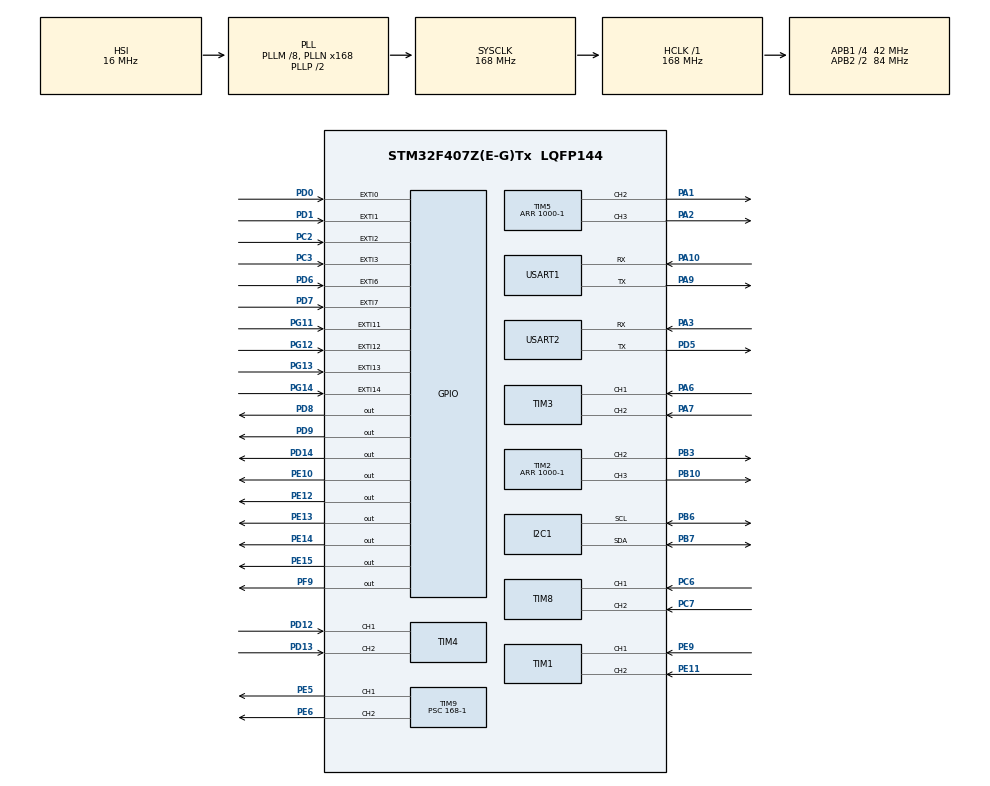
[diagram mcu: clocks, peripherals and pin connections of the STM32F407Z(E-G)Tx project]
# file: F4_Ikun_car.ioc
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Dma.Request0=USART1_RX
Dma.Request1=USART1_TX
Dma.USART1_RX.0.Direction=DMA_PERIPH_TO_MEMORY
Dma.USART1_RX.0.FIFOMode=DMA_FIFOMODE_DISABLE
Dma.USART1_RX.0.Instance=DMA2_Stream2
Dma.USART1_RX.0.MemDataAlignment=DMA_MDATAALIGN_BYTE
Dma.USART1_RX.0.MemInc=DMA_MINC_ENABLE
Dma.USART1_RX.0.Mode=DMA_NORMAL
Dma.USART1_RX.0.PeriphDataAlignment=DMA_PDATAALIGN_BYTE
Dma.USART1_RX.0.PeriphInc=DMA_PINC_DISABLE
Dma.USART1_RX.0.Priority=DMA_PRIORITY_LOW
Dma.USART1_TX.1.Direction=DMA_MEMORY_TO_PERIPH
Dma.USART1_TX.1.FIFOMode=DMA_FIFOMODE_DISABLE
Dma.USART1_TX.1.Instance=DMA2_Stream7
Dma.USART1_TX.1.MemDataAlignment=DMA_MDATAALIGN_BYTE
Dma.USART1_TX.1.MemInc=DMA_MINC_ENABLE
Dma.USART1_TX.1.Mode=DMA_NORMAL
Dma.USART1_TX.1.PeriphDataAlignment=DMA_PDATAALIGN_BYTE
Dma.USART1_TX.1.PeriphInc=DMA_PINC_DISABLE
Dma.USART1_TX.1.Priority=DMA_PRIORITY_LOW
FREERTOS.Tasks01=defaultTask,0,128,StartDefaultTask,Default,NULL,Dynamic,NULL,NULL
FREERTOS.configUSE_TIMERS=1
Mcu.Family=STM32F4
Mcu.Name=STM32F407Z(E-G)Tx
Mcu.Package=LQFP144
NVIC.DMA2_Stream2_IRQn=true\:5\:0\:false\:false\:true\:true\:false\:true\:true
NVIC.DMA2_Stream7_IRQn=true\:5\:0\:false\:false\:true\:true\:false\:true\:true
NVIC.EXTI0_IRQn=true\:5\:0\:false\:false\:true\:true\:true\:true\:true
NVIC.EXTI15_10_IRQn=true\:5\:0\:false\:false\:true\:true\:true\:true\:true
NVIC.EXTI1_IRQn=true\:5\:0\:false\:false\:true\:true\:true\:true\:true
NVIC.EXTI2_IRQn=true\:5\:0\:false\:false\:true\:true\:true\:true\:true
NVIC.EXTI3_IRQn=true\:5\:0\:false\:false\:true\:true\:true\:true\:true
NVIC.EXTI9_5_IRQn=true\:5\:0\:false\:false\:true\:true\:true\:true\:true
NVIC.PriorityGroup=NVIC_PRIORITYGROUP_4
NVIC.USART1_IRQn=true\:5\:0\:false\:false\:true\:true\:true\:true\:true
NVIC.USART2_IRQn=true\:5\:0\:false\:false\:true\:true\:true\:true\:true
PA1.Signal=S_TIM5_CH2
PA10.Mode=Asynchronous
PA10.Signal=USART1_RX
PA2.Signal=S_TIM5_CH3
PA3.Mode=Asynchronous
PA3.Signal=USART2_RX
PA6.Signal=S_TIM3_CH1
PA7.Signal=S_TIM3_CH2
PA9.Mode=Asynchronous
PA9.Signal=USART1_TX
PB10.Signal=S_TIM2_CH3
PB3.Signal=S_TIM2_CH2
PB6.Mode=I2C
PB6.Signal=I2C1_SCL
PB7.Mode=I2C
PB7.Signal=I2C1_SDA
PC2.Signal=GPXTI2
PC3.Signal=GPXTI3
PC6.Signal=S_TIM8_CH1
PC7.Signal=S_TIM8_CH2
PD0.GPIO_ModeDefaultEXTI=GPIO_MODE_IT_FALLING
PD0.Signal=GPXTI0
PD1.GPIO_ModeDefaultEXTI=GPIO_MODE_IT_FALLING
PD1.Signal=GPXTI1
PD12.Signal=S_TIM4_CH1
PD13.Signal=S_TIM4_CH2
PD14.Signal=GPIO_Output
PD5.Mode=Asynchronous
PD5.Signal=USART2_TX
PD6.GPIO_ModeDefaultEXTI=GPIO_MODE_IT_FALLING
PD6.Signal=GPXTI6
PD7.GPIO_ModeDefaultEXTI=GPIO_MODE_IT_FALLING
PD7.Signal=GPXTI7
PD8.Signal=GPIO_Output
PD9.Signal=GPIO_Output
PE10.Signal=GPIO_Output
PE11.Signal=S_TIM1_CH2
PE12.Signal=GPIO_Output
PE13.Signal=GPIO_Output
PE14.Signal=GPIO_Output
PE15.Signal=GPIO_Output
PE5.Signal=S_TIM9_CH1
PE6.Signal=S_TIM9_CH2
PE9.Signal=S_TIM1_CH1
PF9.Signal=GPIO_Output
PG11.GPIO_ModeDefaultEXTI=GPIO_MODE_IT_FALLING
PG11.Signal=GPXTI11
PG12.GPIO_ModeDefaultEXTI=GPIO_MODE_IT_FALLING
PG12.Signal=GPXTI12
PG13.GPIO_ModeDefaultEXTI=GPIO_MODE_IT_FALLING
PG13.Signal=GPXTI13
PG14.GPIO_ModeDefaultEXTI=GPIO_MODE_IT_FALLING
PG14.Signal=GPXTI14
ProjectManager.HeapSize=0x200
ProjectManager.StackSize=0x400
ProjectManager.TargetToolchain=STM32CubeIDE
RCC.48MHZClocksFreq_Value=84000000
RCC.AHBFreq_Value=168000000
RCC.APB1CLKDivider=RCC_HCLK_DIV4
RCC.APB1Freq_Value=42000000
RCC.APB1TimFreq_Value=84000000
RCC.APB2CLKDivider=RCC_HCLK_DIV2
RCC.APB2Freq_Value=84000000
RCC.APB2TimFreq_Value=168000000
RCC.CortexFreq_Value=168000000
RCC.HCLKFreq_Value=168000000
RCC.HSE_VALUE=25000000
RCC.HSI_VALUE=16000000
RCC.LSE_VALUE=32768
RCC.PLLM=8
RCC.PLLN=168
RCC.SYSCLKFreq_VALUE=168000000
RCC.SYSCLKSource=RCC_SYSCLKSOURCE_PLLCLK
RCC.VCOOutputFreq_Value=336000000
SH.S_TIM1_CH1.0=TIM1_CH1,Encoder_Interface
SH.S_TIM1_CH2.0=TIM1_CH2,Encoder_Interface
SH.S_TIM2_CH2.0=TIM2_CH2,PWM Generation2 CH2
SH.S_TIM2_CH3.0=TIM2_CH3,PWM Generation3 CH3
SH.S_TIM3_CH1.0=TIM3_CH1,Encoder_Interface
SH.S_TIM3_CH2.0=TIM3_CH2,Encoder_Interface
SH.S_TIM4_CH1.0=TIM4_CH1,Encoder_Interface
SH.S_TIM4_CH2.0=TIM4_CH2,Encoder_Interface
SH.S_TIM5_CH2.0=TIM5_CH2,PWM Generation2 CH2
SH.S_TIM5_CH3.0=TIM5_CH3,PWM Generation3 CH3
SH.S_TIM8_CH1.0=TIM8_CH1,Encoder_Interface
SH.S_TIM8_CH2.0=TIM8_CH2,Encoder_Interface
SH.S_TIM9_CH1.0=TIM9_CH1,PWM Generation1 CH1
SH.S_TIM9_CH2.0=TIM9_CH2,PWM Generation2 CH2
TIM1.EncoderMode=TIM_ENCODERMODE_TI12
TIM1.IC1Filter=4
TIM1.IC2Filter=4
TIM2.Channel-PWM\ Generation2\ CH2=TIM_CHANNEL_2
TIM2.Channel-PWM\ Generation3\ CH3=TIM_CHANNEL_3
TIM2.Period=1000-1
TIM3.EncoderMode=TIM_ENCODERMODE_TI12
TIM3.IC1Filter=4
TIM3.IC2Filter=4
TIM4.EncoderMode=TIM_ENCODERMODE_TI12
TIM4.IC1Filter=4
TIM4.IC2Filter=4
TIM5.Channel-PWM\ Generation2\ CH2=TIM_CHANNEL_2
TIM5.Channel-PWM\ Generation3\ CH3=TIM_CHANNEL_3
TIM5.Period=1000-1
TIM8.EncoderMode=TIM_ENCODERMODE_TI12
TIM8.IC1Filter=4
TIM8.IC2Filter=4
TIM9.Channel-PWM\ Generation1\ CH1=TIM_CHANNEL_1
TIM9.Channel-PWM\ Generation2\ CH2=TIM_CHANNEL_2
TIM9.Period=20000-1
TIM9.Prescaler=168-1
USART1.VirtualMode=VM_ASYNC
USART2.VirtualMode=VM_ASYNC
VP_FREERTOS_VS_CMSIS_V1.Mode=CMSIS_V1
board=custom

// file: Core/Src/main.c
/* USER CODE BEGIN Header */
/**
  ******************************************************************************
  * @file           : main.c
  * @brief          : Main program body
  ******************************************************************************
  * @attention
  *
  * Copyright (c) 2023 STMicroelectronics.
  * All rights reserved.
  *
  * This software is licensed under terms that can be found in the LICENSE file
  * in the root directory of this software component.
  * If no LICENSE file comes with this software, it is provided AS-IS.
  *
  ******************************************************************************
  */
/* USER CODE END Header */
#include "main.h"
#include "cmsis_os.h"
#include "dma.h"
#include "i2c.h"
#include "tim.h"
#include "usart.h"
#include "gpio.h"

/* USER CODE BEGIN Includes */
#ifdef __GNUC__
#define PUTCHAR_PROTOTYPE int __io_putchar(int ch)
#else
#define PUTCHAR_PROTOTYPE int fputc(int ch, FILE *f)
#endif
PUTCHAR_PROTOTYPE
{
    HAL_UART_Transmit(&huart1, (uint8_t*)&ch,1,100);
    return ch;
}
/* USER CODE END Includes */

void SystemClock_Config(void);
void MX_FREERTOS_Init(void);

int main(void)
{

  /* MCU Configuration--------------------------------------------------------*/

  /* Reset of all peripherals, Initializes the Flash interface and the Systick. */
  HAL_Init();

  /* Configure the system clock */
  SystemClock_Config();

  /* Initialize all configured peripherals */
  MX_GPIO_Init();
  MX_DMA_Init();
  MX_I2C1_Init();
  MX_TIM1_Init();
  MX_TIM2_Init();
  MX_TIM3_Init();
  MX_TIM4_Init();
  MX_TIM5_Init();
  MX_TIM8_Init();
  MX_TIM9_Init();
  MX_USART1_UART_Init();
  MX_USART2_UART_Init();

  /* Call init function for freertos objects (in freertos.c) */
  MX_FREERTOS_Init();

  /* Start scheduler */
  osKernelStart();
  /* We should never get here as control is now taken by the scheduler */
  /* Infinite loop */
  while (1)
  {

  }
}

void SystemClock_Config(void)
{
  RCC_OscInitTypeDef RCC_OscInitStruct = {0};
  RCC_ClkInitTypeDef RCC_ClkInitStruct = {0};

  /** Configure the main internal regulator output voltage
  */
  __HAL_RCC_PWR_CLK_ENABLE();
  __HAL_PWR_VOLTAGESCALING_CONFIG(PWR_REGULATOR_VOLTAGE_SCALE1);

  /** Initializes the RCC Oscillators according to the specified parameters
  * in the RCC_OscInitTypeDef structure.
  */
  RCC_OscInitStruct.OscillatorType = RCC_OSCILLATORTYPE_HSI;
  RCC_OscInitStruct.HSIState = RCC_HSI_ON;
  RCC_OscInitStruct.HSICalibrationValue = RCC_HSICALIBRATION_DEFAULT;
  RCC_OscInitStruct.PLL.PLLState = RCC_PLL_ON;
  RCC_OscInitStruct.PLL.PLLSource = RCC_PLLSOURCE_HSI;
  RCC_OscInitStruct.PLL.PLLM = 8;
  RCC_OscInitStruct.PLL.PLLN = 168;
  RCC_OscInitStruct.PLL.PLLP = RCC_PLLP_DIV2;
  RCC_OscInitStruct.PLL.PLLQ = 4;
  if (HAL_RCC_OscConfig(&RCC_OscInitStruct) != HAL_OK)
  {
    Error_Handler();
  }

  /** Initializes the CPU, AHB and APB buses clocks
  */
  RCC_ClkInitStruct.ClockType = RCC_CLOCKTYPE_HCLK|RCC_CLOCKTYPE_SYSCLK
                              |RCC_CLOCKTYPE_PCLK1|RCC_CLOCKTYPE_PCLK2;
  RCC_ClkInitStruct.SYSCLKSource = RCC_SYSCLKSOURCE_PLLCLK;
  RCC_ClkInitStruct.AHBCLKDivider = RCC_SYSCLK_DIV1;
  RCC_ClkInitStruct.APB1CLKDivider = RCC_HCLK_DIV4;
  RCC_ClkInitStruct.APB2CLKDivider = RCC_HCLK_DIV2;

  if (HAL_RCC_ClockConfig(&RCC_ClkInitStruct, FLASH_LATENCY_5) != HAL_OK)
  {
    Error_Handler();
  }
}

void Error_Handler(void)
{
  __disable_irq();
  while (1)
  {
  }
}

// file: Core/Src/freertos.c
/* USER CODE BEGIN Header */
/**
 ******************************************************************************
 * File Name          : freertos.c
 * Description        : Code for freertos applications
 ******************************************************************************
 * @attention
 *
 * Copyright (c) 2023 STMicroelectronics.
 * All rights reserved.
 *
 * This software is licensed under terms that can be found in the LICENSE file
 * in the root directory of this software component.
 * If no LICENSE file comes with this software, it is provided AS-IS.
 *
 ******************************************************************************
 */
/* USER CODE END Header */

#include "FreeRTOS.h"
#include "task.h"
#include "main.h"
#include "cmsis_os.h"

/* USER CODE BEGIN Includes */
#include "common_inc.h"

/* USER CODE END Includes */

/* USER CODE BEGIN Variables */
osThreadId ledBlinkyTaskHandle;
osThreadId motorSpeedUpdateTaskHandle;
osThreadId obstacleTaskHandle;
osThreadId servoTaskHandle;
osThreadId carControllerTaskHandle;

osMutexId carStatusMutexHandle;

osTimerId timerId;
/* USER CODE END Variables */
osThreadId defaultTaskHandle;

void StartDefaultTask(void const * argument);

void MX_FREERTOS_Init(void); /* (MISRA C 2004 rule 8.1) */

/* GetIdleTaskMemory prototype (linked to static allocation support) */
void vApplicationGetIdleTaskMemory( StaticTask_t **ppxIdleTaskTCBBuffer, StackType_t **ppxIdleTaskStackBuffer, uint32_t *pulIdleTaskStackSize );

/* GetTimerTaskMemory prototype (linked to static allocation support) */
void vApplicationGetTimerTaskMemory( StaticTask_t **ppxTimerTaskTCBBuffer, StackType_t **ppxTimerTaskStackBuffer, uint32_t *pulTimerTaskStackSize );

/* USER CODE BEGIN GET_IDLE_TASK_MEMORY */
static StaticTask_t xIdleTaskTCBBuffer;
static StackType_t xIdleStack[configMINIMAL_STACK_SIZE];

void vApplicationGetIdleTaskMemory(StaticTask_t **ppxIdleTaskTCBBuffer,
                                   StackType_t **ppxIdleTaskStackBuffer,
                                   uint32_t *pulIdleTaskStackSize) {
  *ppxIdleTaskTCBBuffer = &xIdleTaskTCBBuffer;
  *ppxIdleTaskStackBuffer = &xIdleStack[0];
  *pulIdleTaskStackSize = configMINIMAL_STACK_SIZE;
  /* place for user code */
}
/* USER CODE END GET_IDLE_TASK_MEMORY */

/* USER CODE BEGIN GET_TIMER_TASK_MEMORY */
static StaticTask_t xTimerTaskTCBBuffer;
static StackType_t xTimerStack[configTIMER_TASK_STACK_DEPTH];

void vApplicationGetTimerTaskMemory( StaticTask_t **ppxTimerTaskTCBBuffer, StackType_t **ppxTimerTaskStackBuffer, uint32_t *pulTimerTaskStackSize )
{
  *ppxTimerTaskTCBBuffer = &xTimerTaskTCBBuffer;
  *ppxTimerTaskStackBuffer = &xTimerStack[0];
  *pulTimerTaskStackSize = configTIMER_TASK_STACK_DEPTH;
  /* place for user code */
}
/* USER CODE END GET_TIMER_TASK_MEMORY */

void MX_FREERTOS_Init(void) {

  /* Create the thread(s) */
  /* definition and creation of defaultTask */
  osThreadDef(defaultTask, StartDefaultTask, osPriorityNormal, 0, 128);
  defaultTaskHandle = osThreadCreate(osThread(defaultTask), NULL);

}

void StartDefaultTask(void const * argument)
{
  /* USER CODE BEGIN StartDefaultTask */
  // use c++'s main function
  Main();
  vTaskDelete(defaultTaskHandle);
  /* Infinite loop */

  /* USER CODE END StartDefaultTask */
}
